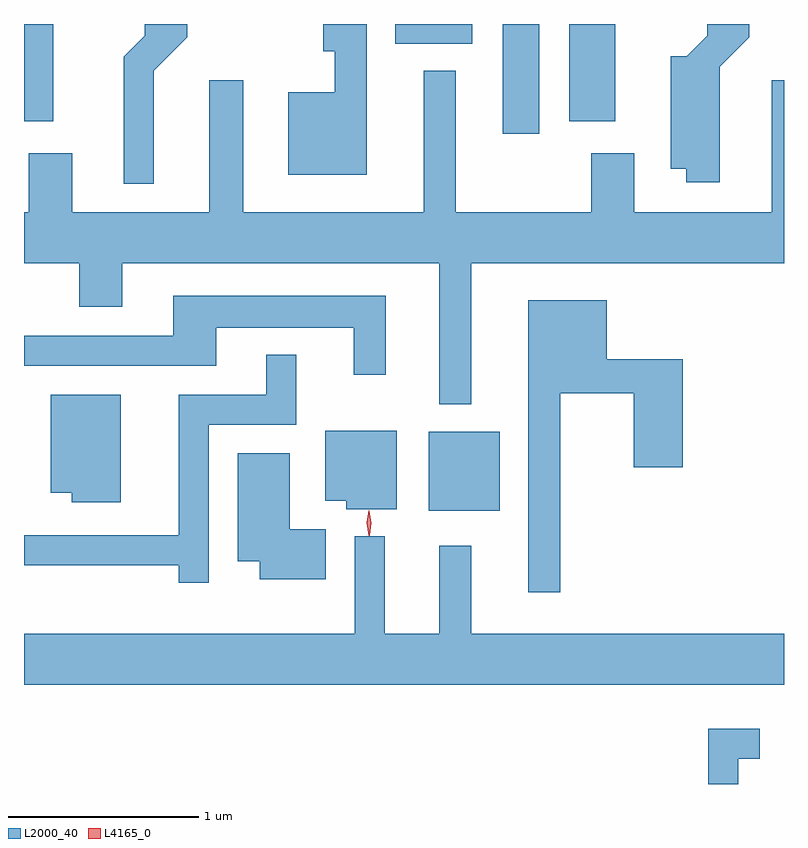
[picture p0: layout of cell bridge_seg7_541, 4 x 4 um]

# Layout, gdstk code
import gdstk
lib = gdstk.Library(unit=1e-6, precision=1e-09)
def R(c, l, rs):  # rectangles x0, y0, x1, y1
    for r in rs: c.add(gdstk.rectangle(r[:2], r[2:], *l))
def P(c, l, *ps):  # polygons
    for p in ps: c.add(gdstk.Polygon(p, *l))
L2000_40 = (2000, 40)
L4165_0 = (4165, 0)

bridge_seg7_541 = lib.new_cell('bridge_seg7_541')
R(bridge_seg7_541, L2000_40, [(978.976,1739.651,979.349,1740.069), (979.366,1741.636,979.559,1742.214), (976.846,1741.701,976.999,1742.214), (979.716,1741.701,979.959,1742.214), (978.801,1742.111,979.204,1742.214)])
P(bridge_seg7_541, L2000_40, [(978.649,1742.214),(978.421,1742.214),(978.421,1742.071),(978.481,1742.071),(978.481,1741.854),(978.236,1741.854),(978.236,1741.421),(978.649,1741.421)],
  [(980.509,1741.989),(980.664,1742.144),(980.664,1742.214),(980.441,1742.214),(980.441,1742.152),(980.334,1742.044),(980.251,1742.044),(980.251,1741.451),(980.331,1741.451),(980.331,1741.381),(980.509,1741.381)],
  [(977.529,1741.969),(977.704,1742.144),(977.704,1742.214),(977.481,1742.214),(977.481,1742.152),(977.371,1742.042),(977.371,1741.373),(977.529,1741.373)],
  [(979.199,1740.956),(980.846,1740.956),(980.846,1741.919),(980.781,1741.919),(980.781,1741.224),(980.059,1741.224),(980.059,1741.534),(979.831,1741.534),(979.831,1741.224),(979.119,1741.224),(979.119,1741.968),(978.951,1741.968),(978.951,1741.224),(977.999,1741.224),(977.999,1741.919),(977.821,1741.919),(977.821,1741.224),(977.099,1741.224),(977.099,1741.534),(976.871,1741.534),(976.871,1741.224),(976.846,1741.224),(976.846,1740.956),(977.136,1740.956),(977.136,1740.726),(977.364,1740.726),(977.364,1740.956),(979.031,1740.956),(979.031,1740.213),(979.199,1740.213)],
  [(978.749,1740.784),(977.631,1740.784),(977.631,1740.574),(976.846,1740.574),(976.846,1740.416),(977.859,1740.416),(977.859,1740.616),(978.581,1740.616),(978.581,1740.368),(978.749,1740.368)],
  [(979.669,1740.271),(980.056,1740.271),(980.056,1739.881),(980.314,1739.881),(980.314,1740.449),(979.914,1740.449),(979.914,1740.759),(979.501,1740.759),(979.501,1739.223),(979.669,1739.223)],
  [(977.819,1740.106),(978.279,1740.106),(978.279,1740.473),(978.121,1740.473),(978.121,1740.264),(977.661,1740.264),(977.661,1739.524),(976.846,1739.524),(976.846,1739.366),(977.661,1739.366),(977.661,1739.273),(977.819,1739.273)],
  [(977.354,1740.264),(976.986,1740.264),(976.986,1739.746),(977.096,1739.746),(977.096,1739.696),(977.354,1739.696)],
  [(978.809,1740.074),(978.431,1740.074),(978.431,1739.706),(978.541,1739.706),(978.541,1739.661),(978.809,1739.661)],
  [(978.434,1739.554),(978.244,1739.554),(978.244,1739.954),(977.971,1739.954),(977.971,1739.386),(978.086,1739.386),(978.086,1739.291),(978.434,1739.291)],
  [(980.846,1739.004),(979.199,1739.004),(979.199,1739.468),(979.031,1739.468),(979.031,1739.004),(978.744,1739.004),(978.744,1739.518),(978.586,1739.518),(978.586,1739.004),(976.846,1739.004),(976.846,1738.736),(980.846,1738.736)],
  [(980.604,1738.346),(980.718,1738.346),(980.718,1738.504),(980.446,1738.504),(980.446,1738.214),(980.604,1738.214)])
P(bridge_seg7_541, L4165_0, [(978.661,1739.52),(978.651,1739.588),(978.66,1739.655),(978.66,1739.655),(978.661,1739.655),(978.671,1739.588),(978.662,1739.52),(978.662,1739.52)],
  [(978.664,1739.523),(978.664,1739.524),(978.654,1739.587),(978.662,1739.651),(978.663,1739.651),(978.663,1739.651),(978.674,1739.587),(978.665,1739.524)])

lib.write_gds('bridge_seg7_541.gds')
